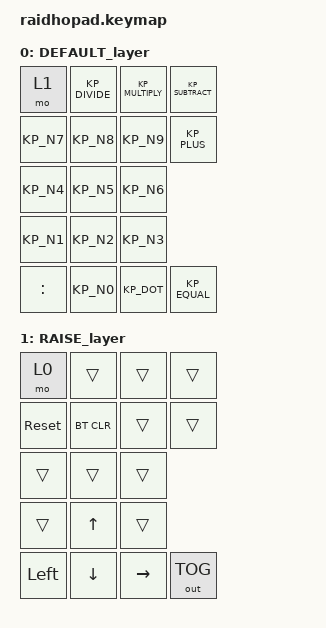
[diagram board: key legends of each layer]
/*
 * Copyright (c) 2021 The ZMK Contributors
 *
 * SPDX-License-Identifier: MIT
 */

#include <behaviors.dtsi>
#include <dt-bindings/zmk/keys.h>
#include <dt-bindings/zmk/bt.h>
#include <dt-bindings/zmk/outputs.h>
#include <dt-bindings/zmk/ext_power.h>

#define DEFAULT 0
#define RAISE 1

/ {
    
    keymap0: keymap {
        compatible = "zmk,keymap";

        DEFAULT_layer {
			bindings = <
				&mo 1       &KP_DIVIDE   &KP_MULTIPLY  &KP_SUBTRACT
				&KP_N7      &KP_N8       &KP_N9        &KP_PLUS  
				&KP_N4      &KP_N5       &KP_N6          
				&KP_N1      &KP_N2       &KP_N3         
				&kp COLON   &KP_N0       &KP_DOT       &KP_EQUAL  
			>;
		};
		RAISE_layer {
			bindings = <
				&mo 0       &trans       &trans        &trans 
				&sys_reset  &bt BT_CLR   &trans        &trans   
				&trans      &trans       &trans         
				&trans      &kp UP       &trans        
				&kp Left    &kp DOWN     &kp RIGHT     &out OUT_TOG   
			>;
		};
	};
};
